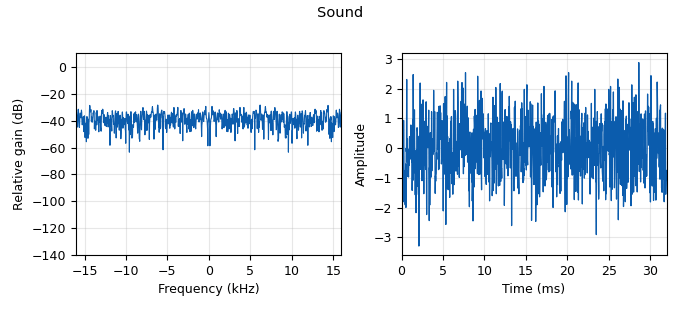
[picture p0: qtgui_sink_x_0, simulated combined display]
options:
  parameters:
    generate_options: qt_gui
    id: audio_pluto
    output_language: python
    title: audio_pluto
  states: {}

blocks:
- name: samp_rate
  id: variable
  parameters:
    value: '32000'
  states: {}
- name: volume
  id: variable_qtgui_range
  parameters:
    label: Volume
    start: '0'
    step: '0.005'
    stop: '1'
    value: '0.05'
  states: {}
- name: analog_fastnoise_source_x_0
  id: analog_fastnoise_source_x
  parameters:
    amp: '1'
    noise_type: analog.GR_GAUSSIAN
    samples: '8192'
    seed: '0'
    type: float
  states: {}
- name: analog_noise_source_x_0
  id: analog_noise_source_x
  parameters:
    amp: '10'
    noise_type: analog.GR_UNIFORM
    seed: '1'
    type: float
  states: {state: disabled}
- name: audio_sink_0
  id: audio_sink
  parameters:
    samp_rate: samp_rate
  states: {}
- name: audio_source_0
  id: audio_source
  parameters:
    samp_rate: samp_rate
  states: {state: disabled}
- name: blocks_multiply_const_vxx_0
  id: blocks_multiply_const_vxx
  parameters:
    const: volume
    type: float
  states: {}
- name: qtgui_sink_x_0
  id: qtgui_sink_x
  parameters:
    bw: samp_rate
    fc: '0'
    fftsize: '1024'
    name: '"Sound"'
    type: float
  states: {}

connections:
- [analog_fastnoise_source_x_0, '0', blocks_multiply_const_vxx_0, '0']
- [analog_fastnoise_source_x_0, '0', qtgui_sink_x_0, '0']
- [analog_noise_source_x_0, '0', blocks_multiply_const_vxx_0, '0']
- [analog_noise_source_x_0, '0', qtgui_sink_x_0, '0']
- [audio_source_0, '0', audio_sink_0, '0']
- [audio_source_0, '0', qtgui_sink_x_0, '0']
- [blocks_multiply_const_vxx_0, '0', audio_sink_0, '0']

metadata:
  file_format: 1
